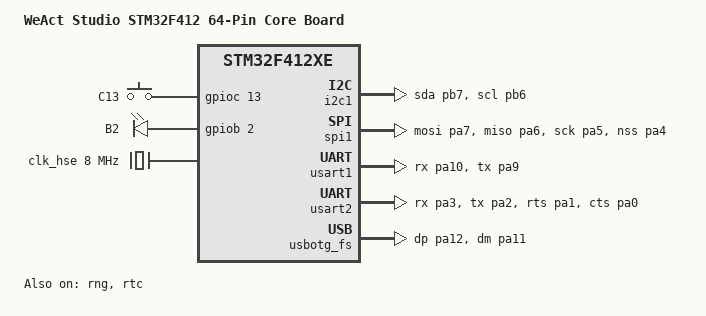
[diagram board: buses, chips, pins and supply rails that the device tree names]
/*
 * Copyright (c) 2024 Caspar Friedrich <c.s.w.friedrich@gmail.com>
 *
 * SPDX-License-Identifier: Apache-2.0
 */

/dts-v1/;

#include <st/f4/stm32f412Xe.dtsi>
#include <st/f4/stm32f412r(e-g)tx-pinctrl.dtsi>

/ {
	model = "WeAct Studio STM32F412 64-Pin Core Board";
	compatible = "weact,coreboard-f412re";

	chosen {
		zephyr,code-partition = &slot0_partition;
		zephyr,console = &usart1;
		zephyr,flash = &flash0;
		zephyr,shell-uart = &usart1;
		zephyr,sram = &sram0;
		zephyr,uart-mcumgr = &usart1;
	};

	keys {
		compatible = "gpio-keys";
		key_c13: key_c13 {
			gpios = <&gpioc 13 (GPIO_ACTIVE_HIGH | GPIO_PULL_DOWN)>;
			label = "C13";
		};
	};

	leds {
		compatible = "gpio-leds";
		led_b2: led_b2 {
			gpios = <&gpiob 2 GPIO_ACTIVE_HIGH>;
			label = "B2";
		};
	};

	aliases {
		led0 = &led_b2;
		sw0 = &key_c13;
		mcuboot-led0 = &led_b2;
		mcuboot-button0 = &key_c13;
	};
};

&clk_hse {
	clock-frequency = <DT_FREQ_M(8)>;
	status = "okay";
};

&clk_lse {
	status = "okay";
};

&pll {
	div-m = <8>;
	mul-n = <384>;
	div-p = <4>;
	div-q = <8>;
	div-r = <2>;
	clocks = <&clk_hse>;
	status = "okay";
};

&rcc {
	clocks = <&pll>;
	clock-frequency = <DT_FREQ_M(96)>;
	ahb-prescaler = <1>;
	apb1-prescaler = <2>;
	apb2-prescaler = <2>;
	status = "okay";
};

&rng {
	status = "okay";
};

&rtc {
	clocks = <&rcc STM32_CLOCK_BUS_APB1 0x10000000>,
		 <&rcc STM32_SRC_LSE RTC_SEL(1)>;
	status = "okay";
};

&i2c1 {
	pinctrl-0 = <&i2c1_sda_pb7 &i2c1_scl_pb6>;
	pinctrl-names = "default";
	status = "okay";
};

&spi1 {
	pinctrl-0 = <&spi1_mosi_pa7 &spi1_miso_pa6 &spi1_sck_pa5 &spi1_nss_pa4>;
	pinctrl-names = "default";
	status = "okay";
};

&usart1 {
	pinctrl-0 = <&usart1_rx_pa10 &usart1_tx_pa9>;
	pinctrl-names = "default";
	status = "okay";
};

&usart2 {
	pinctrl-0 = <&usart2_rx_pa3 &usart2_tx_pa2 &usart2_rts_pa1 &usart2_cts_pa0>;
	pinctrl-names = "default";
	status = "okay";
};

&sdmmc1 {
	pinctrl-0 = <&sdio_d0_pc8 &sdio_d1_pc9 &sdio_d2_pc10
	             &sdio_d3_pc11 &sdio_ck_pc12 &sdio_cmd_pd2>;
	pinctrl-names = "default";
	status = "disabled";
};

zephyr_udc0: &usbotg_fs {
	pinctrl-0 = <&usb_otg_fs_dp_pa12 &usb_otg_fs_dm_pa11>;
	pinctrl-names = "default";
	status = "okay";
};

&flash0 {
	partitions {
		compatible = "fixed-partitions";
		#address-cells = <1>;
		#size-cells = <1>;

		boot_partition: partition@0 {
			reg = <0x00000000 DT_SIZE_K(48)>;
			label = "mcuboot";
			read-only;
		};

		slot0_partition: partition@c000 {
			reg = <0x0000c000 DT_SIZE_K(224)>;
			label = "image-0";
		};

		slot1_partition: partition@84000 {
			reg = <0x00084000 DT_SIZE_K(224)>;
			label = "image-1";
		};

		storage_partition: partition@fc0000 {
			reg = <0x00fc0000 DT_SIZE_K(16)>;
			label = "storage";
		};
	};
};
